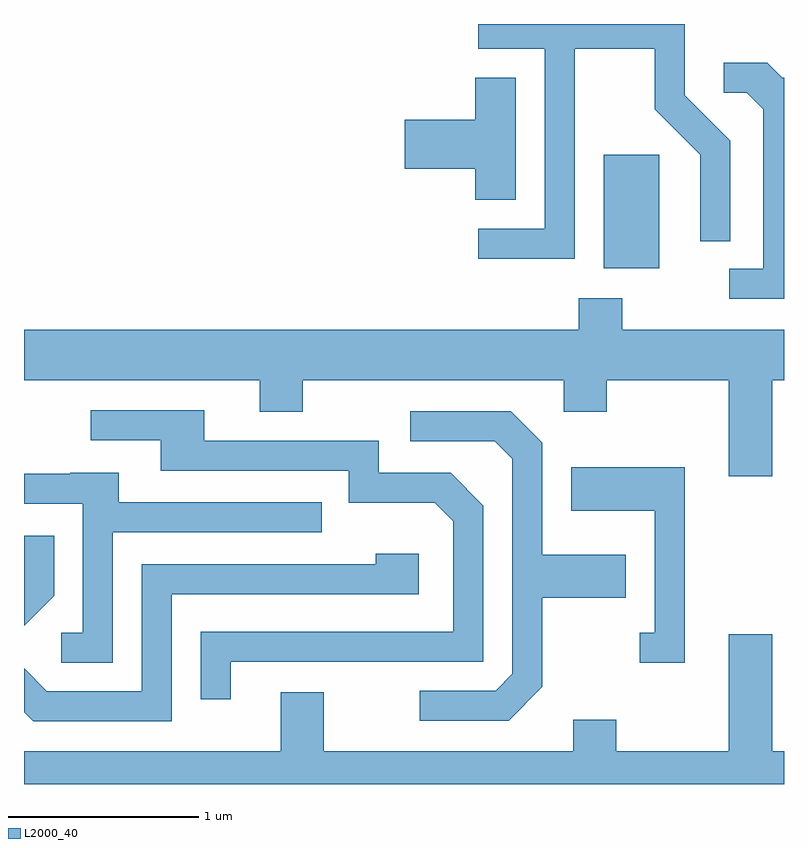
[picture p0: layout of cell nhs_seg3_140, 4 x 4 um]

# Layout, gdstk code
import gdstk
lib = gdstk.Library(unit=1e-6, precision=1e-09)
def R(c, l, rs):  # rectangles x0, y0, x1, y1
    for r in rs: c.add(gdstk.rectangle(r[:2], r[2:], *l))
def P(c, l, *ps):  # polygons
    for p in ps: c.add(gdstk.Polygon(p, *l))
L2000_40 = (2000, 40)

nhs_seg3_140 = lib.new_cell('nhs_seg3_140')
R(nhs_seg3_140, L2000_40, [(192.661,1126.606,192.954,1127.204)])
P(nhs_seg3_140, L2000_40, [(192.509,1127.761),(192.931,1127.761),(192.931,1127.444),(193.171,1127.204),(193.171,1126.748),(193.329,1126.748),(193.329,1127.277),(193.089,1127.517),(193.089,1127.892),(192.003,1127.892),(192.003,1127.761),(192.351,1127.761),(192.351,1126.814),(192.003,1126.814),(192.003,1126.656),(192.509,1126.656)],
  [(193.611,1127.609),(193.602,1127.609),(193.522,1127.689),(193.293,1127.689),(193.293,1127.531),(193.414,1127.531),(193.501,1127.444),(193.501,1126.604),(193.323,1126.604),(193.323,1126.446),(193.611,1126.446)],
  [(192.199,1127.609),(191.986,1127.609),(191.986,1127.389),(191.616,1127.389),(191.616,1127.131),(191.986,1127.131),(191.986,1126.966),(192.199,1126.966)],
  [(193.549,1126.016),(193.611,1126.016),(193.611,1126.284),(192.759,1126.284),(192.759,1126.449),(192.531,1126.449),(192.531,1126.284),(189.611,1126.284),(189.611,1126.016),(190.851,1126.016),(190.851,1125.851),(191.079,1125.851),(191.079,1126.016),(192.451,1126.016),(192.451,1125.851),(192.679,1125.851),(192.679,1126.016),(193.321,1126.016),(193.321,1125.511),(193.549,1125.511)],
  [(190.699,1124.536),(192.029,1124.536),(192.029,1125.357),(191.857,1125.529),(191.479,1125.529),(191.479,1125.699),(190.559,1125.699),(190.559,1125.859),(189.963,1125.859),(189.963,1125.701),(190.331,1125.701),(190.331,1125.541),(191.321,1125.541),(191.321,1125.371),(191.774,1125.371),(191.871,1125.274),(191.871,1124.694),(190.541,1124.694),(190.541,1124.338),(190.699,1124.338)],
  [(192.339,1124.404),(192.339,1124.871),(192.779,1124.871),(192.779,1125.099),(192.339,1125.099),(192.339,1125.687),(192.172,1125.854),(191.643,1125.854),(191.643,1125.696),(192.089,1125.696),(192.181,1125.604),(192.181,1124.472),(192.094,1124.384),(191.693,1124.384),(191.693,1124.226),(192.162,1124.226)],
  [(193.089,1125.559),(192.491,1125.559),(192.491,1125.331),(192.931,1125.331),(192.931,1124.689),(192.853,1124.689),(192.853,1124.531),(193.089,1124.531)],
  [(190.079,1125.216),(191.178,1125.216),(191.178,1125.374),(190.109,1125.374),(190.109,1125.529),(189.855,1125.529),(189.855,1125.524),(189.611,1125.524),(189.611,1125.366),(189.921,1125.366),(189.921,1124.689),(189.808,1124.689),(189.808,1124.531),(190.079,1124.531)],
  [(189.769,1124.884),(189.769,1125.198),(189.611,1125.198),(189.611,1124.725)],
  [(190.389,1124.891),(191.689,1124.891),(191.689,1125.104),(191.461,1125.104),(191.461,1125.049),(190.231,1125.049),(190.231,1124.379),(189.732,1124.379),(189.611,1124.5),(189.611,1124.269),(189.659,1124.221),(190.389,1124.221)],
  [(193.611,1124.064),(193.549,1124.064),(193.549,1124.679),(193.321,1124.679),(193.321,1124.064),(192.729,1124.064),(192.729,1124.229),(192.501,1124.229),(192.501,1124.064),(191.189,1124.064),(191.189,1124.374),(190.961,1124.374),(190.961,1124.064),(189.611,1124.064),(189.611,1123.892),(193.611,1123.892)])

lib.write_gds('nhs_seg3_140.gds')
